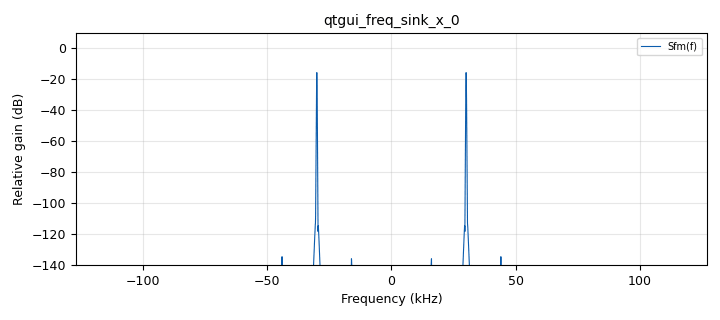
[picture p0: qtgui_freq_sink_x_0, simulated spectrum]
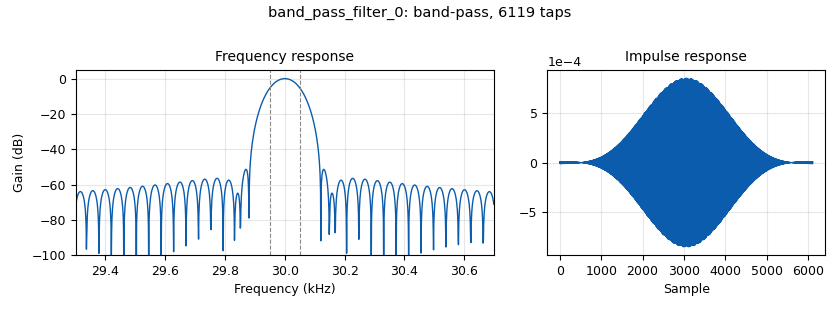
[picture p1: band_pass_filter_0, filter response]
<?xml version='1.0' encoding='utf-8'?>
<?grc format='1' created='3.7.9'?>
<flow_graph>
<block>
<key>options</key>
<param><key>id</key><value>top_block</value></param>
<param><key>category</key><value>Custom</value></param>
<param><key>generate_options</key><value>qt_gui</value></param>
</block>
<block>
<key>variable_qtgui_range</key>
<param><key>id</key><value>Am</value></param>
<param><key>value</key><value>0.25</value></param>
<param><key>orient</key><value>Qt.Horizontal</value></param>
<param><key>start</key><value>0.25</value></param>
<param><key>step</key><value>0.25</value></param>
<param><key>stop</key><value>5</value></param>
</block>
<block>
<key>variable_qtgui_range</key>
<param><key>id</key><value>B</value></param>
<param><key>value</key><value>100</value></param>
<param><key>orient</key><value>Qt.Horizontal</value></param>
<param><key>start</key><value>100</value></param>
<param><key>step</key><value>100</value></param>
<param><key>stop</key><value>35000</value></param>
</block>
<block>
<key>variable</key>
<param><key>id</key><value>Bm</value></param>
<param><key>value</key><value>5*fm</value></param>
</block>
<block>
<key>variable</key>
<param><key>id</key><value>fc</value></param>
<param><key>value</key><value>30000</value></param>
</block>
<block>
<key>variable_qtgui_range</key>
<param><key>id</key><value>fm</value></param>
<param><key>value</key><value>10</value></param>
<param><key>orient</key><value>Qt.Horizontal</value></param>
<param><key>start</key><value>10</value></param>
<param><key>step</key><value>10</value></param>
<param><key>stop</key><value>1000</value></param>
</block>
<block>
<key>variable</key>
<param><key>id</key><value>kvco</value></param>
<param><key>value</key><value>2000</value></param>
</block>
<block>
<key>variable</key>
<param><key>id</key><value>samp_rate</value></param>
<param><key>value</key><value>254000</value></param>
</block>
<block>
<key>analog_sig_source_x</key>
<param><key>id</key><value>analog_sig_source_x_0</value></param>
<param><key>amp</key><value>1</value></param>
<param><key>freq</key><value>fc</value></param>
<param><key>offset</key><value>0</value></param>
<param><key>type</key><value>complex</value></param>
<param><key>samp_rate</key><value>samp_rate</value></param>
<param><key>waveform</key><value>analog.GR_COS_WAVE</value></param>
</block>
<block>
<key>band_pass_filter</key>
<param><key>id</key><value>band_pass_filter_0</value></param>
<param><key>decim</key><value>1</value></param>
<param><key>type</key><value>fir_filter_fff</value></param>
<param><key>gain</key><value>1</value></param>
<param><key>high_cutoff_freq</key><value>fc+B/2</value></param>
<param><key>low_cutoff_freq</key><value>fc-B/2</value></param>
<param><key>samp_rate</key><value>samp_rate</value></param>
<param><key>width</key><value>100</value></param>
<param><key>win</key><value>firdes.WIN_HAMMING</value></param>
</block>
<block>
<key>blocks_complex_to_real</key>
<param><key>id</key><value>blocks_complex_to_real_0</value></param>
</block>
<block>
<key>blocks_integrate_xx</key>
<param><key>id</key><value>blocks_integrate_xx_0</value></param>
<param><key>decim</key><value>1</value></param>
<param><key>type</key><value>float</value></param>
</block>
<block>
<key>blocks_multiply_xx</key>
<param><key>id</key><value>blocks_multiply_xx_0</value></param>
<param><key>type</key><value>complex</value></param>
</block>
<block>
<key>blocks_rms_xx</key>
<param><key>id</key><value>blocks_rms_xx_0</value></param>
<param><key>alpha</key><value>0.0001</value></param>
<param><key>type</key><value>float</value></param>
</block>
<block>
<key>blocks_vco_c</key>
<param><key>id</key><value>blocks_vco_c_0</value></param>
<param><key>amplitude</key><value>1</value></param>
<param><key>samp_rate</key><value>samp_rate</value></param>
<param><key>sensitivity</key><value>2*3.14159265*kvco</value></param>
</block>
<block>
<key>qtgui_freq_sink_x</key>
<param><key>id</key><value>qtgui_freq_sink_x_0</value></param>
<param><key>bw</key><value>samp_rate</value></param>
<param><key>fc</key><value>0</value></param>
<param><key>ctrlpanel</key><value>True</value></param>
<param><key>fftsize</key><value>4096</value></param>
<param><key>grid</key><value>True</value></param>
<param><key>label1</key><value>Sfm(f)</value></param>
<param><key>showports</key><value>True</value></param>
<param><key>type</key><value>float</value></param>
<param><key>wintype</key><value>firdes.WIN_BLACKMAN_hARRIS</value></param>
</block>
<block>
<key>qtgui_number_sink</key>
<param><key>id</key><value>qtgui_number_sink_0</value></param>
<param><key>autoscale</key><value>True</value></param>
<param><key>graph_type</key><value>qtgui.NUM_GRAPH_HORIZ</value></param>
<param><key>type</key><value>float</value></param>
<param><key>max</key><value>10</value></param>
<param><key>min</key><value>0</value></param>
</block>
<block>
<key>analog_sig_source_x</key>
<param><key>id</key><value>v</value></param>
<param><key>amp</key><value>2*Am</value></param>
<param><key>freq</key><value>fm</value></param>
<param><key>offset</key><value>-Am</value></param>
<param><key>type</key><value>float</value></param>
<param><key>samp_rate</key><value>samp_rate</value></param>
<param><key>waveform</key><value>analog.GR_TRI_WAVE</value></param>
</block>
<connection><source_block_id>analog_sig_source_x_0</source_block_id><sink_block_id>blocks_multiply_xx_0</sink_block_id><source_key>0</source_key><sink_key>1</sink_key></connection>
<connection><source_block_id>band_pass_filter_0</source_block_id><sink_block_id>blocks_rms_xx_0</sink_block_id><source_key>0</source_key><sink_key>0</sink_key></connection>
<connection><source_block_id>blocks_complex_to_real_0</source_block_id><sink_block_id>band_pass_filter_0</sink_block_id><source_key>0</source_key><sink_key>0</sink_key></connection>
<connection><source_block_id>blocks_complex_to_real_0</source_block_id><sink_block_id>qtgui_freq_sink_x_0</sink_block_id><source_key>0</source_key><sink_key>0</sink_key></connection>
<connection><source_block_id>blocks_integrate_xx_0</source_block_id><sink_block_id>blocks_vco_c_0</sink_block_id><source_key>0</source_key><sink_key>0</sink_key></connection>
<connection><source_block_id>blocks_multiply_xx_0</source_block_id><sink_block_id>blocks_complex_to_real_0</sink_block_id><source_key>0</source_key><sink_key>0</sink_key></connection>
<connection><source_block_id>blocks_rms_xx_0</source_block_id><sink_block_id>qtgui_number_sink_0</sink_block_id><source_key>0</source_key><sink_key>0</sink_key></connection>
<connection><source_block_id>blocks_vco_c_0</source_block_id><sink_block_id>blocks_multiply_xx_0</sink_block_id><source_key>0</source_key><sink_key>0</sink_key></connection>
<connection><source_block_id>v</source_block_id><sink_block_id>blocks_integrate_xx_0</sink_block_id><source_key>0</source_key><sink_key>0</sink_key></connection>
</flow_graph>
